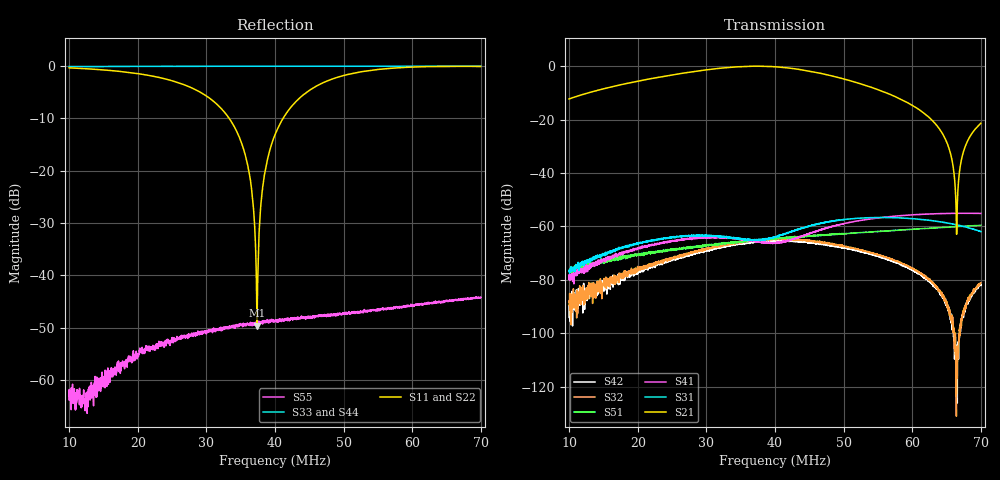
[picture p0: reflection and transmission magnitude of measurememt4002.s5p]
#  HZ  S  RI  R  50.00
! Rohde & Schwarz ZVT8 8Ports - Version 4.11 - 1300.0000k08 SN: 100242
! Date: 2026-07-06 11:35:01
! Measurements: S11 S12 S13 S14 S15 S21 S22 S23 S24 S25 S31 S32 S33 S34 S35 S41 S42 S43 S44 S45 S51 S52 S53 S54 S55
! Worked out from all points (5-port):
!   3001 points, 10 MHz to 70 MHz, reference 50 ohm
!   strongest paths, dB at 10 MHz, 25 MHz, 40 MHz, 55 MHz, 70 MHz:
!     S21: -12.3, -3.3, -0.2, -8.8, -21.4
!     S31: -76.8, -64.2, -64.1, -56.7, -62.0
!     S41: -79.7, -65.5, -66.2, -56.9, -55.2
!     S51: -76.9, -68.5, -64.8, -61.9, -59.6
!     S32: -89.6, -72.0, -64.7, -70.6, -81.1
!     S42: -89.8, -72.8, -65.4, -71.2, -82.1
!   lowest |S11| = -49.6 dB at 37.38 MHz (marker M1), VSWR 1.01, Z = 50.3 - j0.177 ohm
!   |S11| at or under -10 dB: 33.32 MHz to 41.17 MHz (7.85 MHz wide, 21.1 % of centre)
